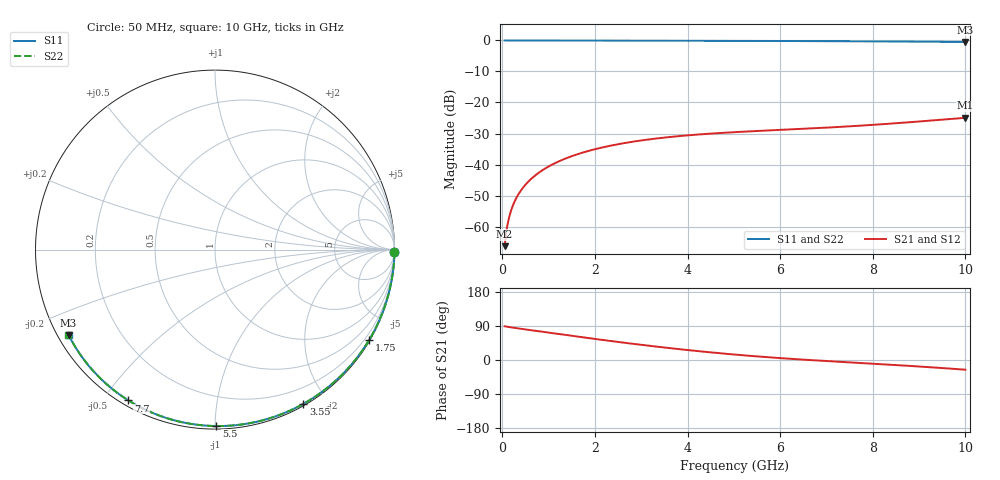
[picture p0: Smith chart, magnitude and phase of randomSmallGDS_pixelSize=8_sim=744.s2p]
! freq	dB(S11)	phase(S11)	dB(S12)	phase(S12)
!  dB(S21)	phase(S21)	dB(S22)	phase(S22)
!S-par simulation data
#  GHz  S  DB  R 50
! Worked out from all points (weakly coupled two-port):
!   200 points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, 50 MHz to 10 GHz, reference 50 ohm
!   highest |S21| = -24.93 dB at 10 GHz (marker M1); lowest = -66.3 dB at 50 MHz (marker M2)
!   lowest |S11| = -0.5 dB at 10 GHz (marker M3), VSWR 34.83, Z = 1.54 - j13.5 ohm
!   |S11| at or under -10 dB: nowhere
!   |S22| runs from -0.5 to 0.0 dB; largest |S21 - S12| = 0
!   S11 on the Smith chart (normalised r, x): 50 MHz: open; 1.75 GHz: 0.03, -3.66; 3.55 GHz: 0.02, -1.73; 5.5 GHz: 0.02, -1.01; 7.7 GHz: 0.02, -0.58; 10 GHz: 0.03, -0.27
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0.05  -0.00 -0.9  -66.32 88.9  -66.32 88.9  -0.00 -0.9
0.1  -0.00 -1.8  -60.32 87.8  -60.32 87.8  -0.00 -1.8
0.15  -0.00 -2.7  -56.83 86.8  -56.83 86.8  -0.00 -2.7
0.2  -0.00 -3.6  -54.36 85.9  -54.36 85.9  -0.00 -3.6
0.25  -0.00 -4.4  -52.44 85.0  -52.44 85.0  -0.00 -4.4
0.35  -0.00 -6.2  -49.56 83.2  -49.56 83.2  -0.00 -6.2
0.5  -0.01 -8.9  -46.51 80.7  -46.51 80.7  -0.01 -8.9
0.7  -0.01 -12.4  -43.64 77.3  -43.64 77.3  -0.01 -12.4
1  -0.02 -17.6  -40.64 72.2  -40.64 72.2  -0.02 -17.6
1.35  -0.03 -23.7  -38.16 66.3  -38.16 66.3  -0.03 -23.7
1.75  -0.04 -30.5  -36.09 59.6  -36.09 59.6  -0.04 -30.5
2.5  -0.06 -43.1  -33.45 47.6  -33.45 47.6  -0.06 -43.2
3.4  -0.08 -57.8  -31.48 34.3  -31.48 34.3  -0.08 -57.8
3.55  -0.08 -60.2  -31.24 32.2  -31.24 32.2  -0.08 -60.2
4.3  -0.10 -71.8  -30.25 22.5  -30.25 22.5  -0.10 -71.9
5.05  -0.13 -83.1  -29.54 14.0  -29.54 14.0  -0.13 -83.1
5.5  -0.15 -89.6  -29.19 9.5  -29.19 9.5  -0.15 -89.7
6.7  -0.21 -106.4  -28.34 -0.6  -28.34 -0.6  -0.21 -106.5
7.7  -0.27 -119.8  -27.50 -7.6  -27.50 -7.6  -0.27 -119.9
8.35  -0.33 -128.4  -26.85 -12.2  -26.85 -12.2  -0.33 -128.4
9.2  -0.41 -139.4  -25.89 -18.8  -25.89 -18.8  -0.41 -139.5
10  -0.50 -149.8  -24.93 -25.6  -24.93 -25.6  -0.50 -149.9
